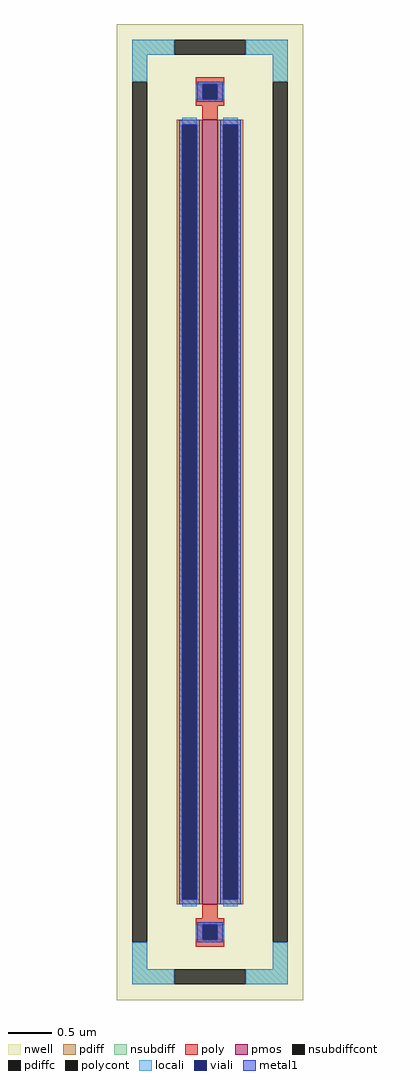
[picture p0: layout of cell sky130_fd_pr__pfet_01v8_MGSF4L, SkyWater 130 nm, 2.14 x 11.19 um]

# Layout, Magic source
magic
tech sky130A
magscale 1 2
<< nwell >>
rect -214 -1119 214 1119
<< pmos >>
rect -18 -900 18 900
<< pdiff >>
rect -76 888 -18 900
rect -76 -888 -64 888
rect -30 -888 -18 888
rect -76 -900 -18 -888
rect 18 888 76 900
rect 18 -888 30 888
rect 64 -888 76 888
rect 18 -900 76 -888
<< pdiffc >>
rect -64 -888 -30 888
rect 30 -888 64 888
<< nsubdiff >>
rect -178 1049 -82 1083
rect 82 1049 178 1083
rect -178 987 -144 1049
rect 144 987 178 1049
rect -178 -1049 -144 -987
rect 144 -1049 178 -987
rect -178 -1083 -82 -1049
rect 82 -1083 178 -1049
<< nsubdiffcont >>
rect -82 1049 82 1083
rect -178 -987 -144 987
rect 144 -987 178 987
rect -82 -1083 82 -1049
<< poly >>
rect -33 981 33 997
rect -33 947 -17 981
rect 17 947 33 981
rect -33 931 33 947
rect -18 900 18 931
rect -18 -931 18 -900
rect -33 -947 33 -931
rect -33 -981 -17 -947
rect 17 -981 33 -947
rect -33 -997 33 -981
<< polycont >>
rect -17 947 17 981
rect -17 -981 17 -947
<< locali >>
rect -178 1049 -82 1083
rect 82 1049 178 1083
rect -178 987 -144 1049
rect 144 987 178 1049
rect -33 947 -17 981
rect 17 947 33 981
rect -64 888 -30 904
rect -64 -904 -30 -888
rect 30 888 64 904
rect 30 -904 64 -888
rect -33 -981 -17 -947
rect 17 -981 33 -947
rect -178 -1049 -144 -987
rect 144 -1049 178 -987
rect -178 -1083 -82 -1049
rect 82 -1083 178 -1049
<< viali >>
rect -17 947 17 981
rect -64 -888 -30 888
rect 30 -888 64 888
rect -17 -981 17 -947
<< metal1 >>
rect -29 981 29 987
rect -29 947 -17 981
rect 17 947 29 981
rect -29 941 29 947
rect -70 888 -24 900
rect -70 -888 -64 888
rect -30 -888 -24 888
rect -70 -900 -24 -888
rect 24 888 70 900
rect 24 -888 30 888
rect 64 -888 70 888
rect 24 -900 70 -888
rect -29 -947 29 -941
rect -29 -981 -17 -947
rect 17 -981 29 -947
rect -29 -987 29 -981
<< properties >>
string FIXED_BBOX -161 -1066 161 1066
string gencell sky130_fd_pr__pfet_01v8
string library sky130
string parameters w 9.0 l 0.18 m 1 nf 1 diffcov 100 polycov 100 guard 1 glc 1 grc 1 gtc 1 gbc 1 tbcov 100 rlcov 100 topc 1 botc 1 poverlap 0 doverlap 1 lmin 0.15 wmin 0.42 compatible {sky130_fd_pr__pfet_01v8  sky130_fd_pr__pfet_01v8_lvt sky130_fd_pr__pfet_01v8_hvt  sky130_fd_pr__pfet_g5v0d10v5} full_metal 1 viasrc 100 viadrn 100 viagate 100 viagb 0 viagr 0 viagl 0 viagt 0
<< end >>
